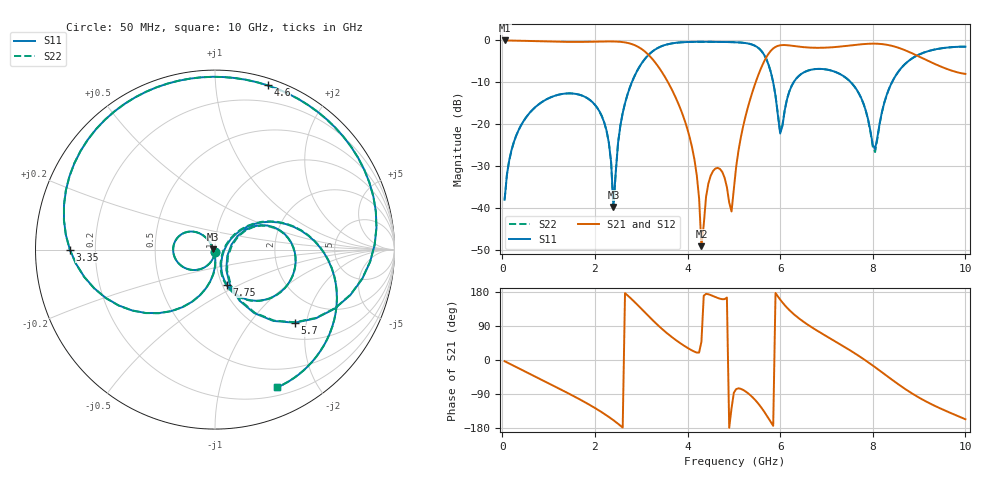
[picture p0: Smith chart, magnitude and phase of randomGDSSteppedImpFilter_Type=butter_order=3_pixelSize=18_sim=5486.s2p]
! freq	dB(S11)	phase(S11)	dB(S12)	phase(S12)
!  dB(S21)	phase(S21)	dB(S22)	phase(S22)
!S-par simulation data
#  GHz  S  DB  R 50
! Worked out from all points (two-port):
!   200 points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, 50 MHz to 10 GHz, reference 50 ohm
!   highest |S21| = -0.01 dB at 50 MHz (marker M1); lowest = -49.1 dB at 4.3 GHz (marker M2)
!   |S21| within 3 dB of the highest: start of sweep to 3.115 GHz; 5.761 GHz to 8.836 GHz (3.075 GHz wide, 42.1 % of centre)
!   lowest |S11| = -39.8 dB at 2.4 GHz (marker M3), VSWR 1.02, Z = 49 + j0.211 ohm
!   |S11| at or under -10 dB: start of sweep to 2.797 GHz; 5.849 GHz to 6.292 GHz (442.3 MHz wide, 7.29 % of centre); 7.526 GHz to 8.415 GHz (888.4 MHz wide, 11.1 % of centre)
!   |S22| runs from -40.0 to -0.3 dB; largest |S21 - S12| = 0
!   S11 on the Smith chart (normalised r, x): 50 MHz: 1.00, -0.02; 3.35 GHz: 0.11, -0.00; 4.6 GHz: 0.06, +1.37; 5.7 GHz: 1.34, -1.71; 7.75 GHz: 1.05, -0.43; 10 GHz: 0.29, -1.51
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0.05  -38.06 -92.7  -0.01 -3.1  -0.01 -3.1  -38.06 -92.7
0.55  -17.85 -124.5  -0.12 -34.0  -0.12 -34.0  -17.85 -124.5
1.75  -13.30 160.7  -0.35 -109.1  -0.35 -109.1  -13.30 160.7
2.25  -21.51 127.2  -0.25 -146.0  -0.25 -146.0  -21.52 127.1
2.4  -39.77 167.9  -0.25 -158.9  -0.25 -158.9  -40.00 166.9
2.65  -14.99 -98.4  -0.47 176.5  -0.47 176.5  -14.99 -98.2
3.35  -1.85 -180.0  -5.98 93.0  -5.98 93.0  -1.85 -179.9
3.4  -1.57 174.4  -6.77 87.4  -6.77 87.4  -1.57 174.5
4.1  -0.35 109.7  -25.66 24.9  -25.66 24.9  -0.35 109.8
4.3  -0.33 94.4  -49.14 48.1  -49.14 48.1  -0.33 94.5
4.6  -0.35 72.2  -30.60 166.2  -30.60 166.2  -0.35 72.3
4.95  -0.40 45.4  -40.86 -127.4  -40.86 -127.4  -0.40 45.5
5.05  -0.44 37.1  -30.18 -76.8  -30.18 -76.8  -0.44 37.2
5.4  -1.01 1.8  -12.36 -97.9  -12.36 -97.9  -1.01 1.9
5.7  -4.41 -42.6  -4.05 -144.6  -4.05 -144.6  -4.40 -42.2
6  -22.23 -28.4  -1.16 159.6  -1.16 159.6  -21.79 -27.9
6.7  -6.93 -5.2  -1.74 84.9  -1.74 84.9  -6.93 -5.6
7.75  -13.76 -71.6  -0.92 6.6  -0.92 6.6  -13.79 -72.6
8.05  -25.99 -8.6  -0.77 -19.0  -0.77 -19.0  -26.67 -7.8
8.35  -11.56 32.9  -1.13 -46.1  -1.13 -46.1  -11.59 33.7
9.1  -2.91 -18.7  -4.38 -106.2  -4.38 -106.2  -2.91 -18.6
10  -1.49 -65.6  -8.00 -156.4  -8.00 -156.4  -1.50 -65.7
